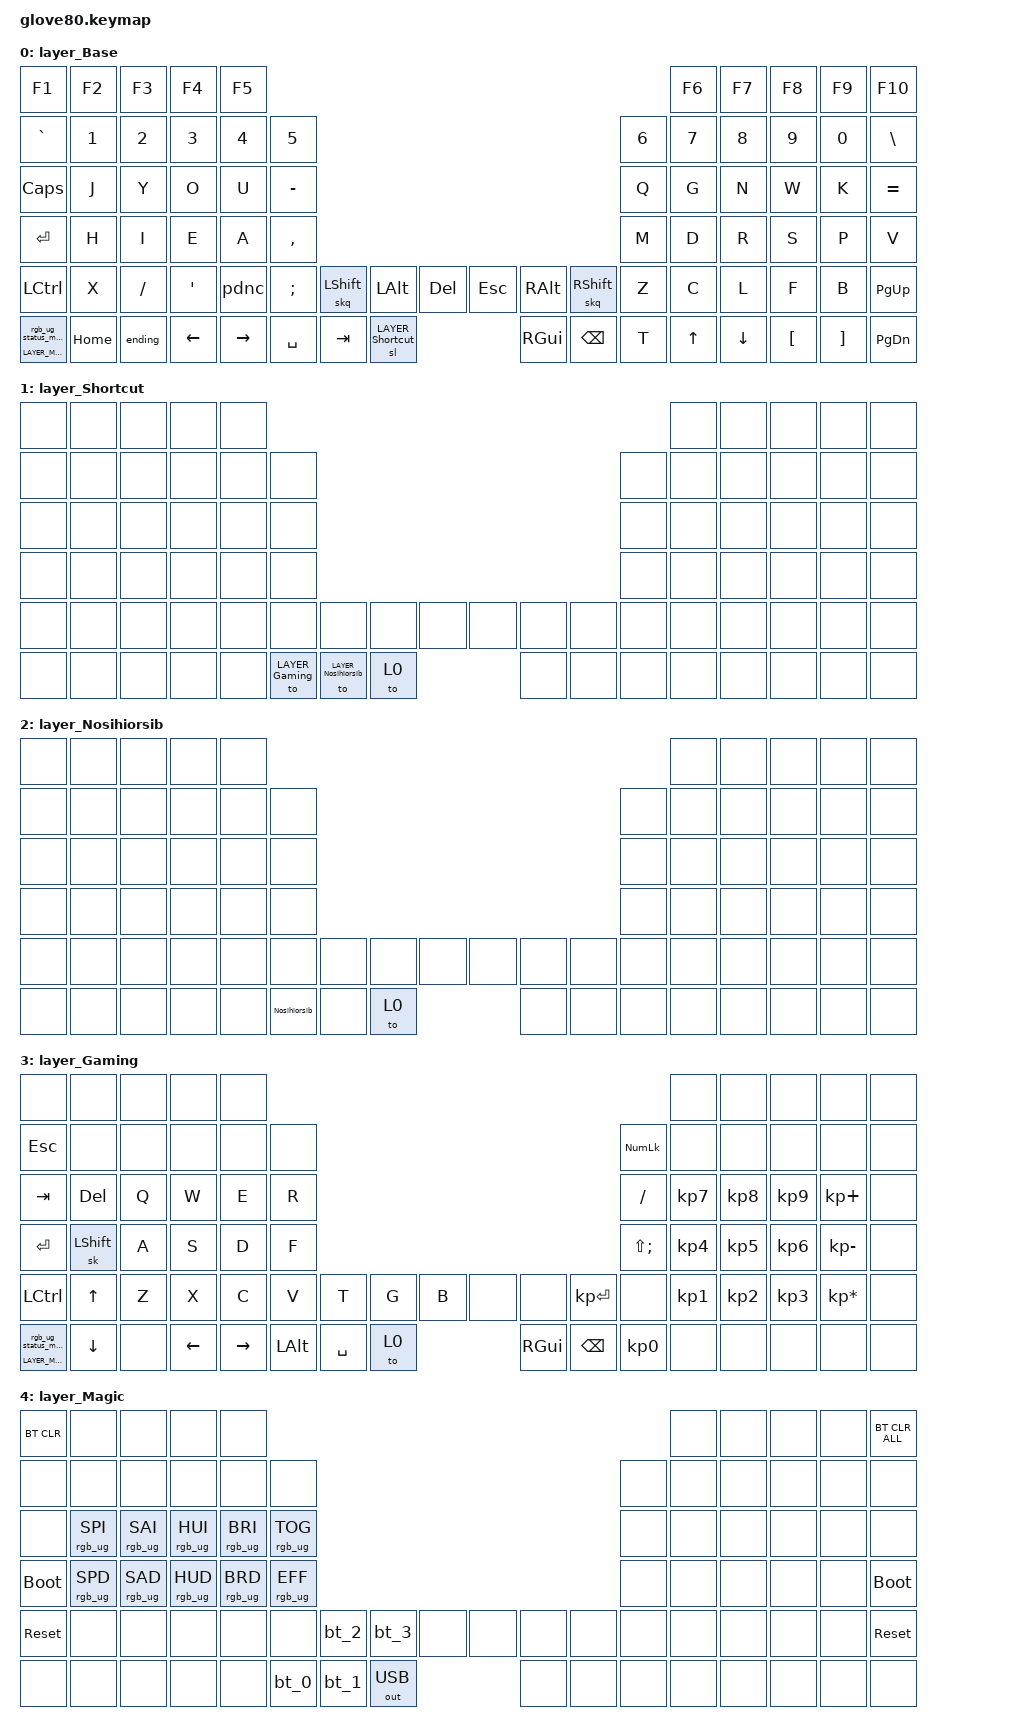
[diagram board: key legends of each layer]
/*
 * Copyright (c) 2020 The ZMK Contributors
 * Copyright (c) 2025 Innaworks Development Limited, trading as MoErgo
 *
 * SPDX-License-Identifier: MIT
 */


/* THIS FILE WAS GENERATED BY GLOVE80 LAYOUT EDITOR
 *
 * This file was generated automatically. You may or may not want to
 * edit it directly.
 */

#include <behaviors.dtsi>
/* Include all behavior includes needed */
#include <dt-bindings/zmk/outputs.h>
#include <dt-bindings/zmk/keys.h>
#include <dt-bindings/zmk/bt.h>
#include <dt-bindings/zmk/rgb.h>

/* On demand includes */


/* Helper Macros, based on https://github.com/urob/zmk-helpers/ */

#pragma once

#define ZMK_HELPER_STRINGIFY(x) #x

// Preprocessor mechanism to overload macros, cf. https://stackoverflow.com/a/27051616/6114651
#define VARGS_(_10, _9, _8, _7, _6, _5, _4, _3, _2, _1, N, ...) N
#define VARGS(...) VARGS_(__VA_ARGS__, 10, 9, 8, 7, 6, 5, 4, 3, 2, 1, 0)
#define CONCAT_(a, b) a##b
#define CONCAT(a, b) CONCAT_(a, b)

#define ZMK_BEHAVIOR_CORE_tap_dance  \
    compatible = "zmk,behavior-tap-dance"; \
    #binding-cells = <0>

#define ZMK_BEHAVIOR(name, type, ...) \
    name: name { \
        ZMK_BEHAVIOR_CORE_ ## type; \
        __VA_ARGS__ \
    };

#define ZMK_TAP_DANCE(name, ...) \
    ZMK_BEHAVIOR(name, tap_dance, __VA_ARGS__)

#define ZMK_TD_LAYER(name, layer) \
    ZMK_TAP_DANCE(name, \
        tapping-term-ms = <200>; \
        bindings = <&mo layer>, <&to layer>; \
)

/* Automatically generated layer name #define */
#define LAYER_Base 0
#define LAYER_Shortcut 1
#define LAYER_Nosihiorsib 2
#define LAYER_Gaming 3
#define LAYER_Magic 4

/* To deal with the situation where there is no Lower layer, to keep &lower happy */
#ifndef LAYER_Lower
#define LAYER_Lower 0
#endif

/* Custom Device-tree */


/* Input Listeners */


/* System behavior and Macros */
/ {
    behaviors {
        ZMK_TD_LAYER(lower, LAYER_Lower)
    };
};

/ {
    macros {
        rgb_ug_status_macro: rgb_ug_status_macro {
            label = "RGB_UG_STATUS";
            compatible = "zmk,behavior-macro";
            #binding-cells = <0>;
            bindings
                = <&rgb_ug RGB_STATUS>;
        };
    };
};


/ {
#ifdef BT_DISC_CMD
    behaviors {
        bt_0: bt_0 {
            compatible = "zmk,behavior-tap-dance";
            label = "BT_0";
            #binding-cells = <0>;
            tapping-term-ms = <200>;
            bindings = <&bt_select_0>, <&bt BT_DISC 0>;
        };
        bt_1: bt_1 {
            compatible = "zmk,behavior-tap-dance";
            label = "BT_1";
            #binding-cells = <0>;
            tapping-term-ms = <200>;
            bindings = <&bt_select_1>, <&bt BT_DISC 1>;
        };
        bt_2: bt_2 {
            compatible = "zmk,behavior-tap-dance";
            label = "BT_2";
            #binding-cells = <0>;
            tapping-term-ms = <200>;
            bindings = <&bt_select_2>, <&bt BT_DISC 2>;
        };
        bt_3: bt_3 {
            compatible = "zmk,behavior-tap-dance";
            label = "BT_3";
            #binding-cells = <0>;
            tapping-term-ms = <200>;
            bindings = <&bt_select_3>, <&bt BT_DISC 3>;
        };
    };
    macros {
        bt_select_0: bt_select_0 {
            label = "BT_SELECT_0";
            compatible = "zmk,behavior-macro";
            #binding-cells = <0>;
            bindings
                = <&out OUT_BLE>,
                  <&bt BT_SEL 0>;
        };
        bt_select_1: bt_select_1 {
            label = "BT_SELECT_1";
            compatible = "zmk,behavior-macro";
            #binding-cells = <0>;
            bindings
                = <&out OUT_BLE>,
                  <&bt BT_SEL 1>;
        };
        bt_select_2: bt_select_2 {
            label = "BT_SELECT_2";
            compatible = "zmk,behavior-macro";
            #binding-cells = <0>;
            bindings
                = <&out OUT_BLE>,
                  <&bt BT_SEL 2>;
        };
        bt_select_3: bt_select_3 {
            label = "BT_SELECT_3";
            compatible = "zmk,behavior-macro";
            #binding-cells = <0>;
            bindings
                = <&out OUT_BLE>,
                  <&bt BT_SEL 3>;
        };
    };
#else
    macros {
        bt_0: bt_0 {
            label = "BT_0";
            compatible = "zmk,behavior-macro";
            #binding-cells = <0>;
            bindings
                = <&out OUT_BLE>,
                  <&bt BT_SEL 0>;
        };
        bt_1: bt_1 {
            label = "BT_1";
            compatible = "zmk,behavior-macro";
            #binding-cells = <0>;
            bindings
                = <&out OUT_BLE>,
                  <&bt BT_SEL 1>;
        };
        bt_2: bt_2 {
            label = "BT_2";
            compatible = "zmk,behavior-macro";
            #binding-cells = <0>;
            bindings
                = <&out OUT_BLE>,
                  <&bt BT_SEL 2>;
        };
        bt_3: bt_3 {
            label = "BT_3";
            compatible = "zmk,behavior-macro";
            #binding-cells = <0>;
            bindings
                = <&out OUT_BLE>,
                  <&bt BT_SEL 3>;
        };
    };
#endif
};

/ {
    behaviors {
        magic: magic {
            compatible = "zmk,behavior-hold-tap";
            label = "MAGIC_HOLD_TAP";
            #binding-cells = <2>;
            flavor = "tap-preferred";
            tapping-term-ms = <200>;
            bindings = <&mo>, <&rgb_ug_status_macro>;
        };
    };
};


/* Key positions */

#define POS_LH_C6R1 0
#define POS_LH_C5R1 1
#define POS_LH_C4R1 2
#define POS_LH_C3R1 3
#define POS_LH_C2R1 4
#define POS_RH_C2R1 5
#define POS_RH_C3R1 6
#define POS_RH_C4R1 7
#define POS_RH_C5R1 8
#define POS_RH_C6R1 9
#define POS_LH_C6R2 10
#define POS_LH_C5R2 11
#define POS_LH_C4R2 12
#define POS_LH_C3R2 13
#define POS_LH_C2R2 14
#define POS_LH_C1R2 15
#define POS_RH_C1R2 16
#define POS_RH_C2R2 17
#define POS_RH_C3R2 18
#define POS_RH_C4R2 19
#define POS_RH_C5R2 20
#define POS_RH_C6R2 21
#define POS_LH_C6R3 22
#define POS_LH_C5R3 23
#define POS_LH_C4R3 24
#define POS_LH_C3R3 25
#define POS_LH_C2R3 26
#define POS_LH_C1R3 27
#define POS_RH_C1R3 28
#define POS_RH_C2R3 29
#define POS_RH_C3R3 30
#define POS_RH_C4R3 31
#define POS_RH_C5R3 32
#define POS_RH_C6R3 33
#define POS_LH_C6R4 34
#define POS_LH_C5R4 35
#define POS_LH_C4R4 36
#define POS_LH_C3R4 37
#define POS_LH_C2R4 38
#define POS_LH_C1R4 39
#define POS_RH_C1R4 40
#define POS_RH_C2R4 41
#define POS_RH_C3R4 42
#define POS_RH_C4R4 43
#define POS_RH_C5R4 44
#define POS_RH_C6R4 45
#define POS_LH_C6R5 46
#define POS_LH_C5R5 47
#define POS_LH_C4R5 48
#define POS_LH_C3R5 49
#define POS_LH_C2R5 50
#define POS_LH_C1R5 51
#define POS_LH_T1 52
#define POS_LH_T2 53
#define POS_LH_T3 54
#define POS_RH_T3 55
#define POS_RH_T2 56
#define POS_RH_T1 57
#define POS_RH_C1R5 58
#define POS_RH_C2R5 59
#define POS_RH_C3R5 60
#define POS_RH_C4R5 61
#define POS_RH_C5R5 62
#define POS_RH_C6R5 63
#define POS_LH_C6R6 64
#define POS_LH_C5R6 65
#define POS_LH_C4R6 66
#define POS_LH_C3R6 67
#define POS_LH_C2R6 68
#define POS_LH_T4 69
#define POS_LH_T5 70
#define POS_LH_T6 71
#define POS_RH_T6 72
#define POS_RH_T5 73
#define POS_RH_T4 74
#define POS_RH_C2R6 75
#define POS_RH_C3R6 76
#define POS_RH_C4R6 77
#define POS_RH_C5R6 78
#define POS_RH_C6R6 79


/* Custom Defined Behaviors */
/ {
behaviors {
    pdnc: period_dance {
        compatible = "zmk,behavior-tap-dance";
        label = "SQuote";
        #binding-cells = <0>;
        tapping-term-ms = <175>;
        bindings = <&kp PERIOD>, <&NxtSntc>;
    };
    skq: sticky_key_quick_release {
        compatible = "zmk,behavior-sticky-key";
        #binding-cells = <1>;
        bindings = <&sk>;
        release-after-ms = <1000>;
        quick-release;
        ignore-modifiers;
    };
};
};

/* Generated input processors */


/* Automatically generated macro definitions */
/ {
    macros {

        NxtSntc: NxtSntc {
            label = "&NXTSNTC";
            compatible = "zmk,behavior-macro";
            #binding-cells = <0>;
            bindings = <&kp DOT>
                , <&kp SPACE>
                , <&skq LSHFT>;
        };

        QMNxtSntc: QMNxtSntc {
            label = "&QMNXTSNTC";
            compatible = "zmk,behavior-macro";
            #binding-cells = <0>;
            bindings = <&kp LS(FSLH)>
                , <&kp SPACE>
                , <&skq LSHFT>;
        };

        EMNxtSntc: EMNxtSntc {
            label = "&EMNXTSNTC";
            compatible = "zmk,behavior-macro";
            #binding-cells = <0>;
            bindings = <&kp LS(N1)>
                , <&kp SPACE>
                , <&skq LSHFT>;
        };

        ending: ending {
            label = "&ENDING";
            compatible = "zmk,behavior-macro";
            #binding-cells = <0>;
            bindings = <&kp CAPS>
                , <&kp E>
                , <&kp N>
                , <&kp D>
                , <&kp CAPS>
                , <&kp DOT>;
        };

        Nosihiorsib: Nosihiorsib {
            label = "&NOSIHIORSIB";
            compatible = "zmk,behavior-macro";
            #binding-cells = <0>;
            wait-ms = <5>;
            bindings = <&skq LSHFT>
                , <&kp N>
                , <&kp O>
                , <&kp SPACE>
                , <&kp CAPS>
                , <&kp S>
                , <&kp I>
                , <&kp COMMA>
                , <&kp SPACE>
                , <&kp H>
                , <&kp I>
                , <&kp COMMA>
                , <&kp SPACE>
                , <&kp CAPS>
                , <&kp O>
                , <&kp R>
                , <&kp SPACE>
                , <&kp CAPS>
                , <&kp S>
                , <&kp I>
                , <&kp B>
                , <&kp SEMI>
                , <&kp SPACE>
                , <&kp CAPS>
                , <&to 0>;
        };
    };
};

/* Automatically generated behavior definitions */
/ {
    behaviors {


    };
};

/* Automatically generated combos definitions */
/ {
    combos {
        compatible = "zmk,combos";

        combo_qmnxtsntc {
            key-positions = <POS_LH_T1 POS_LH_C4R5>;
            bindings = <&QMNxtSntc>;
            layers = <LAYER_Base>;
        };

        combo_emnxtsntc {
            key-positions = <POS_LH_T1 POS_LH_C5R2>;
            bindings = <&EMNxtSntc>;
            layers = <LAYER_Base>;
        };

        combo_Ending {
            key-positions = <POS_LH_C6R5 POS_LH_C4R6>;
            bindings = <&ending>;
            layers = <LAYER_Base>;
        };
    };
};

/* Automatically generated keymap */
/ {
    keymap {
        compatible = "zmk,keymap";


        layer_Base {
            bindings = <
               &kp F1    &kp F2    &kp F3    &kp F4     &kp F5                                                                                             &kp F6    &kp F7    &kp F8    &kp F9    &kp F10
            &kp GRAVE    &kp N1    &kp N2    &kp N3     &kp N4     &kp N5                                                                          &kp N6  &kp N7    &kp N8    &kp N9    &kp N0   &kp BSLH
             &kp CAPS     &kp J     &kp Y     &kp O      &kp U  &kp MINUS                                                                           &kp Q   &kp G     &kp N     &kp W     &kp K  &kp EQUAL
              &kp RET     &kp H     &kp I     &kp E      &kp A  &kp COMMA                                                                           &kp M   &kp D     &kp R     &kp S     &kp P      &kp V
            &kp LCTRL     &kp X  &kp FSLH   &kp SQT      &pdnc   &kp SEMI  &skq LSHFT  &kp LALT             &kp DEL   &kp ESC  &kp RALT  &skq RSHFT   &kp Z   &kp C     &kp L     &kp F     &kp B  &kp PG_UP
 &magic LAYER_Magic 0  &kp HOME   &ending  &kp LEFT  &kp RIGHT             &kp SPACE   &kp TAB  &sl LAYER_Shortcut  &kp RGUI  &kp BSPC      &kp T          &kp UP  &kp DOWN  &kp LBKT  &kp RBKT  &kp PG_DN
            >;
        };

        layer_Shortcut {
            bindings = <
  &none   &none   &none   &none   &none                                                                                            &none   &none   &none   &none   &none
  &none   &none   &none   &none   &none   &none                                                                            &none   &none   &none   &none   &none   &none
  &none   &none   &none   &none   &none   &none                                                                            &none   &none   &none   &none   &none   &none
  &none   &none   &none   &none   &none   &none                                                                            &none   &none   &none   &none   &none   &none
  &none   &none   &none   &none   &none   &none             &none                  &none   &none   &none   &none   &none   &none   &none   &none   &none   &none   &none
  &none   &none   &none   &none   &none          &to LAYER_Gaming  &to LAYER_Nosihiorsib   &to 0   &none   &none   &none           &none   &none   &none   &none   &none
            >;
        };

        layer_Nosihiorsib {
            bindings = <
  &none   &none   &none   &none   &none                                                                         &none   &none   &none   &none   &none
  &none   &none   &none   &none   &none   &none                                                         &none   &none   &none   &none   &none   &none
  &none   &none   &none   &none   &none   &none                                                         &none   &none   &none   &none   &none   &none
  &none   &none   &none   &none   &none   &none                                                         &none   &none   &none   &none   &none   &none
  &none   &none   &none   &none   &none   &none         &none   &none   &none   &none   &none   &none   &none   &none   &none   &none   &none   &none
  &none   &none   &none   &none   &none          &Nosihiorsib   &none   &to 0   &none   &none   &none           &none   &none   &none   &none   &none
            >;
        };

        layer_Gaming {
            bindings = <
                &none      &none   &none     &none      &none                                                                                           &none      &none      &none            &none   &none
              &kp ESC      &none   &none     &none      &none   &none                                                                   &kp KP_NUM      &none      &none      &none            &none   &none
              &kp TAB    &kp DEL   &kp Q     &kp W      &kp E   &kp R                                                                     &kp FSLH  &kp KP_N7  &kp KP_N8  &kp KP_N9      &kp KP_PLUS   &none
              &kp RET  &sk LSHFT   &kp A     &kp S      &kp D   &kp F                                                                 &kp LS(SEMI)  &kp KP_N4  &kp KP_N5  &kp KP_N6     &kp KP_MINUS   &none
            &kp LCTRL     &kp UP   &kp Z     &kp X      &kp C   &kp V     &kp T      &kp G   &kp B     &none     &none  &kp KP_ENTER         &none  &kp KP_N1  &kp KP_N2  &kp KP_N3  &kp KP_MULTIPLY   &none
 &magic LAYER_Magic 0   &kp DOWN   &none  &kp LEFT  &kp RIGHT          &kp LALT  &kp SPACE   &to 0  &kp RGUI  &kp BSPC     &kp KP_N0                    &none      &none      &none            &none   &none
            >;
        };

        layer_Magic {
            bindings = <
  &bt BT_CLR            &none            &none            &none            &none                                                                                  &none   &none   &none   &none  &bt BT_CLR_ALL
       &none            &none            &none            &none            &none            &none                                                         &none   &none   &none   &none   &none           &none
       &none  &rgb_ug RGB_SPI  &rgb_ug RGB_SAI  &rgb_ug RGB_HUI  &rgb_ug RGB_BRI  &rgb_ug RGB_TOG                                                         &none   &none   &none   &none   &none           &none
 &bootloader  &rgb_ug RGB_SPD  &rgb_ug RGB_SAD  &rgb_ug RGB_HUD  &rgb_ug RGB_BRD  &rgb_ug RGB_EFF                                                         &none   &none   &none   &none   &none     &bootloader
  &sys_reset            &none            &none            &none            &none            &none   &bt_2   &bt_3         &none   &none   &none   &none   &none   &none   &none   &none   &none      &sys_reset
       &none            &none            &none            &none            &none                    &bt_0   &bt_1  &out OUT_USB   &none   &none   &none           &none   &none   &none   &none           &none
            >;
        };

    };
};
